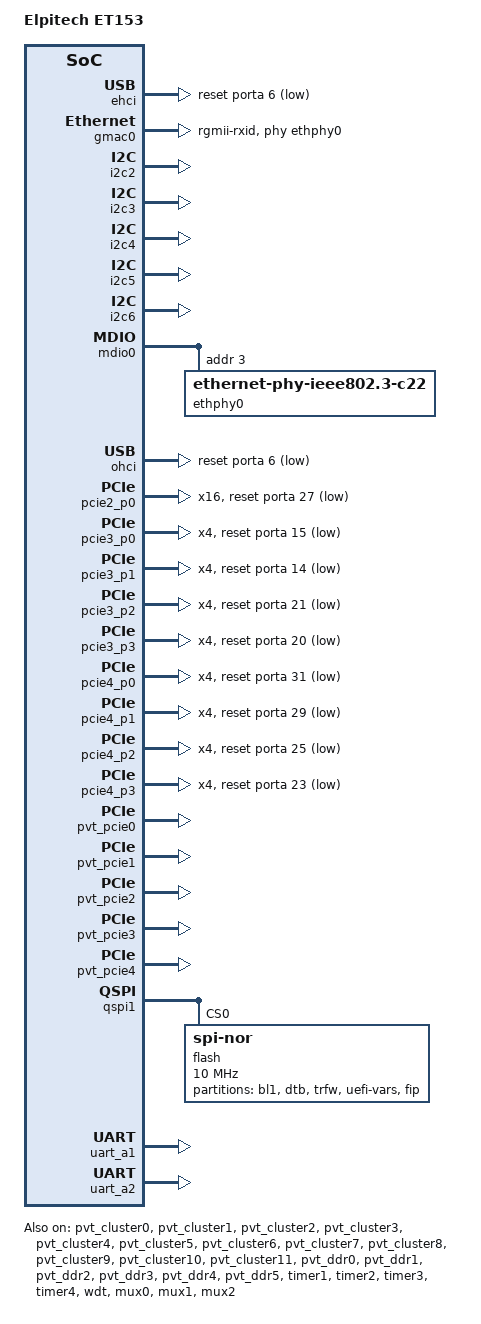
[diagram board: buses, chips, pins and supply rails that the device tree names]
// SPDX-License-Identifier: GPL-2.0
/*
 * Device tree source for Elpitech ET143 board
 * Copyright (C) 2023 Elpitech
 */

/dts-v1/;

#include "bs1000.dtsi"
#include <dt-bindings/gpio/gpio.h>
#include <dt-bindings/net/realtek-phy-rtl8211f.h>

/ {
	model = "Elpitech ET153";
	compatible = "baikal,bs1000";

	aliases {
		ethernet0 = &gmac0;
		ethernet1 = &gmac1;
		fru = &fru;
	};

	chosen { };
};

&ehci {
	status = "okay";
	reset-gpios = <&porta 6 GPIO_ACTIVE_LOW>;
};

&gmac0 {
	status = "okay";
	snps,reset-gpios = <&portb 4 GPIO_ACTIVE_LOW>;
	snps,reset-delays-us = <10>, <10000>, <50000>;
	phy-handle = <&ethphy0>;
	phy-mode = "rgmii-rxid";
};

&gpio32 {
	status = "okay";
};

&gpio16 {
	status = "okay";
};

&i2c2 {
	status = "okay";
};

&i2c3 {
	status = "okay";
};

&i2c4 {
	status = "okay";
};

&i2c5 {
	status = "okay";
};

&i2c6 {
	status = "okay";
};

&mdio0 {
	ethphy0: ethernet-phy@3 {
		compatible = "ethernet-phy-ieee802.3-c22";
		reg = <0x3>;
		realtek,led-mode = <RTL8211F_LED_MODE_B>;
		realtek,led1-control = <RTL8211F_LINK10_100_1000>;
		realtek,led0-control = <RTL8211F_LINK10_ACT>;
	};
};

&ohci {
	status = "okay";
	reset-gpios = <&porta 6 GPIO_ACTIVE_LOW>;
};


&pcie2_p0 {
	status = "okay";
	num-lanes = <16>;
	reset-gpios = <&porta 27 GPIO_ACTIVE_LOW>;
	cpu-addr-bits = <39>;
};

&pcie3_p0 {
	status = "okay";
	num-lanes = <4>;
	reset-gpios = <&porta 15 GPIO_ACTIVE_LOW>;
	cpu-addr-bits = <40>;
};

&pcie3_p1 {
	status = "okay";
	num-lanes = <4>;
	reset-gpios = <&porta 14 GPIO_ACTIVE_LOW>;
	cpu-addr-bits = <40>;
};

&pcie3_p2 {
	status = "okay";
	num-lanes = <4>;
	reset-gpios = <&porta 21 GPIO_ACTIVE_LOW>;
	cpu-addr-bits = <40>;
};

&pcie3_p3 {
	status = "okay";
	num-lanes = <4>;
	reset-gpios = <&porta 20 GPIO_ACTIVE_LOW>;
	cpu-addr-bits = <40>;
};

&pcie4_p0 {
	status = "okay";
	num-lanes = <4>;
	reset-gpios = <&porta 31 GPIO_ACTIVE_LOW>;
	cpu-addr-bits = <40>;
};

&pcie4_p1 {
	status = "okay";
	num-lanes = <4>;
	reset-gpios = <&porta 29 GPIO_ACTIVE_LOW>;
	cpu-addr-bits = <40>;
};

&pcie4_p2 {
	status = "okay";
	num-lanes = <4>;
	reset-gpios = <&porta 25 GPIO_ACTIVE_LOW>;
	cpu-addr-bits = <40>;
};

&pcie4_p3 {
	status = "okay";
	num-lanes = <4>;
	reset-gpios = <&porta 23 GPIO_ACTIVE_LOW>;
	cpu-addr-bits = <40>;
};

&pvt_cluster0 {
	status = "okay";
};

&pvt_cluster1 {
	status = "okay";
};

&pvt_cluster2 {
	status = "okay";
};

&pvt_cluster3 {
	status = "okay";
};

&pvt_cluster4 {
	status = "okay";
};

&pvt_cluster5 {
	status = "okay";
};

&pvt_cluster6 {
	status = "okay";
};

&pvt_cluster7 {
	status = "okay";
};

&pvt_cluster8 {
	status = "okay";
};

&pvt_cluster9 {
	status = "okay";
};

&pvt_cluster10 {
	status = "okay";
};

&pvt_cluster11 {
	status = "okay";
};

&pvt_ddr0 {
	status = "okay";
};

&pvt_ddr1 {
	status = "okay";
};

&pvt_ddr2 {
	status = "okay";
};

&pvt_ddr3 {
	status = "okay";
};

&pvt_ddr4 {
	status = "okay";
};

&pvt_ddr5 {
	status = "okay";
};

&pvt_pcie0 {
	status = "okay";
};

&pvt_pcie1 {
	status = "okay";
};

&pvt_pcie2 {
	status = "okay";
};

&pvt_pcie3 {
	status = "okay";
};

&pvt_pcie4 {
	status = "okay";
};

&qspi1 {
	num-cs = <4>;
	status = "okay";

	flash@0 {
		compatible = "jedec,spi-nor";
		reg = <0>;
		#address-cells = <1>;
		#size-cells = <1>;
		spi-max-frequency = <10000000>;
		spi-tx-bus-width = <1>;
		spi-rx-bus-width = <1>;
		status = "okay";

		partitions {
			compatible = "fixed-partitions";
			#address-cells = <1>;
			#size-cells = <1>;

			partition@0 {
				label = "bl1";
				reg = <0x000000 0x40000>;
			};

			partition@40000 {
				label = "dtb";
				reg = <0x040000 0x20000>;
			};

			partition@e0000 {
				label = "trfw";
				reg = <0x060000 0x20000>;
			};

			partition@80000 {
				label = "uefi-vars";
				reg = <0x080000 0xc0000>;
			};

			partition@140000 {
				label = "fip";
				reg = <0x140000 0x6c0000>;
			};
		};
	};
};

&timer1 {
	status = "okay";
};

&timer2 {
	status = "okay";
};

&timer3 {
	status = "okay";
};

&timer4 {
	status = "okay";
};

&uart_a1 {
	status = "okay";
};

&uart_a2 {
	status = "okay";
};

&wdt {
	status = "okay";
};

&mux {
	compatible = "simple-bus";
	status = "okay";
	uart-smbus-enabled;
};

&mux0 {
	status = "okay";
};

&mux1 {
	status = "okay";
};

&mux2 {
	status = "okay";
};
